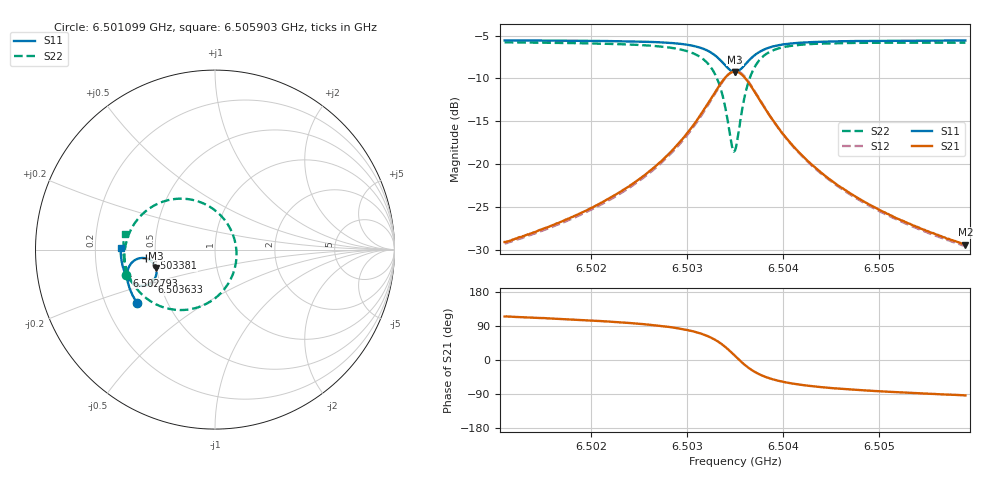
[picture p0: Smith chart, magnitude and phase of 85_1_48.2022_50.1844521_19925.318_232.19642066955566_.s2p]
#  HZ  S  RI  R  50.00
! Rohde & Schwarz Vector Network Analyzer
! Rohde-Schwarz,ZNB20-2Port,1311601062101988,3.16
! Created: UTC 3/20/2024, 11:39:50 AM
! freq[Hz]  re:S11  im:S11  re:S21  im:S21  re:S12  im:S12  re:S22  im:S22
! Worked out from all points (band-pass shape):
!   401 points, 6.501099 GHz to 6.505903 GHz, reference 50 ohm
!   highest |S21| = -9.19 dB at 6.503501 GHz (marker M1); lowest = -29.4 dB at 6.505903 GHz (marker M2)
!   |S21| within 3 dB of the highest: 6.50326 GHz to 6.503741 GHz (480.8 kHz wide, 0.00739 % of centre)
!   lowest |S11| = -9.3 dB at 6.503501 GHz (marker M3), VSWR 2.05, Z = 24.8 - j5.75 ohm
!   |S11| at or under -10 dB: nowhere
!   |S22| runs from -18.5 to -5.8 dB; largest |S21 - S12| = 0.012
!   S11 on the Smith chart (normalised r, x): 6.501099 GHz: 0.34, -0.28; 6.502793 GHz: 0.33, -0.13; 6.503381 GHz: 0.44, -0.05; 6.503633 GHz: 0.45, -0.20; 6.505903 GHz: 0.31, +0.01
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6.5010995e9  -0.433 -0.2995  -0.0148 0.032  -0.013 0.0319  -0.4941 -0.1394
6.501904e9  -0.4666 -0.2386  -0.0139 0.0504  -0.0115 0.0499  -0.5045 -0.0511
6.5023723e9  -0.4823 -0.1958  -0.0103 0.0721  -0.00727 0.0708  -0.4988 0.0192
6.5027085e9  -0.4894 -0.1568  -0.000899 0.1016  0.00274 0.0988  -0.4777 0.0911
6.5027926e9  -0.4898 -0.1451  0.0041 0.1121  0.00791 0.1091  -0.4668 0.1143
6.5029967e9  -0.4852 -0.1109  0.0273 0.1475  0.031 0.143  -0.4184 0.1837
6.5031408e9  -0.4704 -0.081  0.0659 0.1817  0.0687 0.1756  -0.3433 0.2433
6.5032849e9  -0.4314 -0.0513  0.1499 0.2107  0.1505 0.2044  -0.19 0.2837
6.503381e9  -0.3837 -0.0489  0.2435 0.1929  0.2437 0.1882  -0.0276 0.238
6.503465e9  -0.3401 -0.0793  0.3232 0.1158  0.3257 0.1114  0.0993 0.0854
6.5035011e9  -0.3291 -0.1022  0.3408 0.0657  0.3446 0.0599  0.1197 -0.00886
6.5035251e9  -0.3262 -0.1188  0.3441 0.0302  0.3482 0.0232  0.1165 -0.074
6.5035611e9  -0.3285 -0.1435  0.336 -0.021  0.3396 -0.0303  0.0874 -0.165
6.5036332e9  -0.3513 -0.1814  0.2877 -0.0989  0.2876 -0.1106  -0.0266 -0.29
6.5036812e9  -0.3725 -0.1952  0.2467 -0.1278  0.2436 -0.1395  -0.1128 -0.3269
6.5037412e9  -0.398 -0.2018  0.1986 -0.1445  0.193 -0.1545  -0.2073 -0.3364
6.5038973e9  -0.446 -0.1926  0.1128 -0.1399  0.1055 -0.1454  -0.3615 -0.2861
6.5040654e9  -0.4743 -0.1711  0.0665 -0.1182  0.0598 -0.1207  -0.4365 -0.2179
6.5043056e9  -0.4954 -0.1414  0.0353 -0.0925  0.0302 -0.0929  -0.4813 -0.1433
6.5046538e9  -0.5109 -0.1039  0.0161 -0.0686  0.0124 -0.0683  -0.5039 -0.0691
6.5051101e9  -0.5207 -0.0608  0.00536 -0.0504  0.00306 -0.0498  -0.5107 -0.00115
6.5059027e9  -0.5261 0.0069  -0.00203 -0.034  -0.00338 -0.0331  -0.5037 0.0856
